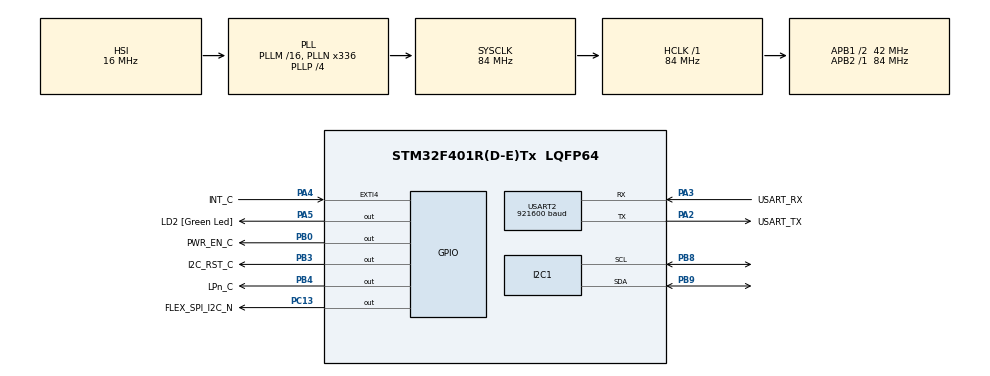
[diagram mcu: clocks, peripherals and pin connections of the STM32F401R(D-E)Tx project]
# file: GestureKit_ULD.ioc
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I2C1.I2C_Mode=I2C_Fast
Mcu.Family=STM32F4
Mcu.Name=STM32F401R(D-E)Tx
Mcu.Package=LQFP64
NVIC.EXTI4_IRQn=true\:0\:0\:false\:false\:true\:true\:true\:true
NVIC.PriorityGroup=NVIC_PRIORITYGROUP_0
NVIC.USART2_IRQn=true\:0\:0\:false\:false\:true\:true\:true\:true
PA13.GPIO_Label=TMS
PA13.Mode=Serial_Wire
PA13.Signal=SYS_JTMS-SWDIO
PA14.GPIO_Label=TCK
PA14.Mode=Serial_Wire
PA14.Signal=SYS_JTCK-SWCLK
PA2.GPIO_Label=USART_TX
PA2.GPIO_Mode=GPIO_MODE_AF_PP
PA2.GPIO_PuPd=GPIO_NOPULL
PA2.GPIO_Speed=GPIO_SPEED_FREQ_LOW
PA2.Mode=Asynchronous
PA2.Signal=USART2_TX
PA3.GPIO_Label=USART_RX
PA3.GPIO_Mode=GPIO_MODE_AF_PP
PA3.GPIO_PuPd=GPIO_NOPULL
PA3.GPIO_Speed=GPIO_SPEED_FREQ_LOW
PA3.Mode=Asynchronous
PA3.Signal=USART2_RX
PA4.GPIO_Label=INT_C
PA4.GPIO_ModeDefaultEXTI=GPIO_MODE_IT_FALLING
PA4.Signal=GPXTI4
PA5.GPIO_Label=LD2 [Green Led]
PA5.GPIO_Mode=GPIO_MODE_OUTPUT_PP
PA5.GPIO_PuPd=GPIO_NOPULL
PA5.GPIO_Speed=GPIO_SPEED_FREQ_LOW
PA5.Signal=GPIO_Output
PB0.GPIO_Label=PWR_EN_C
PB0.GPIO_PuPd=GPIO_PULLUP
PB0.PinState=GPIO_PIN_SET
PB0.Signal=GPIO_Output
PB3.GPIO_Label=I2C_RST_C
PB3.GPIO_ModeDefaultOutputPP=GPIO_MODE_OUTPUT_PP
PB3.GPIO_PuPd=GPIO_PULLDOWN
PB3.PinState=GPIO_PIN_RESET
PB3.Signal=GPIO_Output
PB4.GPIO_Label=LPn_C
PB4.GPIO_PuPd=GPIO_PULLUP
PB4.PinState=GPIO_PIN_SET
PB4.Signal=GPIO_Output
PB8.Mode=I2C
PB8.Signal=I2C1_SCL
PB9.Mode=I2C
PB9.Signal=I2C1_SDA
PC13-ANTI_TAMP.GPIO_Label=FLEX_SPI_I2C_N
PC13-ANTI_TAMP.GPIO_ModeDefaultOutputPP=GPIO_MODE_OUTPUT_PP
PC13-ANTI_TAMP.GPIO_PuPd=GPIO_NOPULL
PC13-ANTI_TAMP.Signal=GPIO_Output
PC14-OSC32_IN.Mode=LSE-External-Oscillator
PC14-OSC32_IN.Signal=RCC_OSC32_IN
PC15-OSC32_OUT.Mode=LSE-External-Oscillator
PC15-OSC32_OUT.Signal=RCC_OSC32_OUT
PH0\ -\ OSC_IN.Mode=HSE-External-Clock-Source
PH0\ -\ OSC_IN.Signal=RCC_OSC_IN
PH1\ -\ OSC_OUT.Mode=HSE-External-Clock-Source
PH1\ -\ OSC_OUT.Signal=RCC_OSC_OUT
ProjectManager.HeapSize=0x200
ProjectManager.StackSize=0x400
ProjectManager.TargetToolchain=STM32CubeIDE
RCC.48MHZClocksFreq_Value=48000000
RCC.AHBFreq_Value=84000000
RCC.APB1CLKDivider=RCC_HCLK_DIV2
RCC.APB1Freq_Value=42000000
RCC.APB1TimFreq_Value=84000000
RCC.APB2Freq_Value=84000000
RCC.APB2TimFreq_Value=84000000
RCC.CortexFreq_Value=84000000
RCC.HCLKFreq_Value=84000000
RCC.HSE_VALUE=8000000
RCC.HSI_VALUE=16000000
RCC.PLLN=336
RCC.PLLP=RCC_PLLP_DIV4
RCC.PLLQ=7
RCC.SYSCLKFreq_VALUE=84000000
RCC.SYSCLKSource=RCC_SYSCLKSOURCE_PLLCLK
RCC.VCOOutputFreq_Value=336000000
USART2.BaudRate=921600
USART2.VirtualMode=VM_ASYNC
board=NUCLEO-F401RE

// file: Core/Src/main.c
/* USER CODE BEGIN Header */
/********************************************************************************
*
* Copyright (c) 2018 STMicroelectronics - All Rights Reserved
*
* License terms: STMicroelectronics Proprietary in accordance with licensing
* terms at www.st.com/sla0081
*
* STMicroelectronics confidential
* Reproduction and Communication of this document is strictly prohibited unless
* specifically authorized in writing by STMicroelectronics.
*
*******************************************************************************/

/* USER CODE END Header */
#include "main.h"

/* USER CODE BEGIN Includes */
#include <stdio.h>
#include <string.h>
#include "apps_layer_utils.h"
/* USER CODE END Includes */

I2C_HandleTypeDef hi2c1;

UART_HandleTypeDef huart2;

void SystemClock_Config(void);
static void MX_GPIO_Init(void);
static void MX_I2C1_Init(void);
static void MX_USART2_UART_Init(void);
/* USER CODE BEGIN PFP */

extern int LMZ_gesture_app_main(int start_ranging, uint8_t *xtalk_calib_buf);
extern int SC_HandleCmd(const char *Buffer);
int handle_cmd(void);

// XTALK CALIBRATION //
// copy the code generated in your UART terminal after the command "calibrate xtalk"
// uint8_t 				Xtalk_cal_buf[VL53LMZ_XTALK_BUFFER_SIZE] = {00,01,02,03,
//																	04,05,...};
uint8_t Xtalk_cal_buf[VL53LMZ_XTALK_BUFFER_SIZE] = {
0x9f, 0xd8, 0x00, 0xc0,
0x03, 0x20, 0x09, 0x60,
0x0b, 0x08, 0x08, 0x17,
0x08, 0x08, 0x08, 0x03,
0x9f, 0xe4, 0x01, 0x40,
0x00, 0x00, 0x00, 0x00,
0x00, 0x00, 0x00, 0x00,
0x00, 0x00, 0x00, 0x00,
0x01, 0xe0, 0x00, 0x20,
0x00, 0x00, 0x00, 0x20,
0x9f, 0xf8, 0x00, 0x40,
0x17, 0x17, 0x17, 0x17,
0x9f, 0xfc, 0x04, 0x04,
0x00, 0x00, 0x46, 0xa4,
0x00, 0x00, 0x37, 0x66,
0x00, 0x00, 0x26, 0x60,
0x00, 0x00, 0x1c, 0xbc,
0x00, 0x00, 0x17, 0x73,
0x00, 0x00, 0x11, 0x25,
0x00, 0x00, 0x11, 0x07,
0x00, 0x00, 0x0e, 0x63,
0x00, 0x00, 0x8b, 0x4c,
0x00, 0x00, 0x60, 0xa2,
0x00, 0x00, 0x3d, 0xc0,
0x00, 0x00, 0x26, 0xaa,
0x00, 0x00, 0x1b, 0xc2,
0x00, 0x00, 0x18, 0x04,
0x00, 0x00, 0x14, 0x97,
0x00, 0x00, 0x10, 0xed,
0x00, 0x01, 0x28, 0x1b,
0x00, 0x00, 0x93, 0xf0,
0x00, 0x00, 0x57, 0x61,
0x00, 0x00, 0x30, 0x2b,
0x00, 0x00, 0x20, 0xaa,
0x00, 0x00, 0x1a, 0xb6,
0x00, 0x00, 0x15, 0xc3,
0x00, 0x00, 0x16, 0x0e,
0x00, 0x01, 0x7f, 0xbb,
0x00, 0x00, 0xad, 0x58,
0x00, 0x00, 0x71, 0xaf,
0x00, 0x00, 0x36, 0xd9,
0x00, 0x00, 0x22, 0xfb,
0x00, 0x00, 0x1c, 0x96,
0x00, 0x00, 0x18, 0x83,
0x00, 0x00, 0x17, 0x96,
0x00, 0x01, 0x90, 0x00,
0x00, 0x00, 0x97, 0xd6,
0x00, 0x00, 0x66, 0x3b,
0x00, 0x00, 0x33, 0x0a,
0x00, 0x00, 0x20, 0xcd,
0x00, 0x00, 0x19, 0x38,
0x00, 0x00, 0x16, 0xa5,
0x00, 0x00, 0x14, 0xbb,
0x00, 0x00, 0xaf, 0xcf,
0x00, 0x00, 0x65, 0x7d,
0x00, 0x00, 0x3d, 0x93,
0x00, 0x00, 0x29, 0xd1,
0x00, 0x00, 0x19, 0x4e,
0x00, 0x00, 0x15, 0xba,
0x00, 0x00, 0x11, 0xc6,
0x00, 0x00, 0x12, 0x7f,
0x00, 0x00, 0x73, 0x1d,
0x00, 0x00, 0x42, 0x2c,
0x00, 0x00, 0x2e, 0x82,
0x00, 0x00, 0x1e, 0x80,
0x00, 0x00, 0x18, 0x1c,
0x00, 0x00, 0x13, 0x2d,
0x00, 0x00, 0x0f, 0xc6,
0x00, 0x00, 0x0f, 0x85,
0x00, 0x00, 0x4f, 0x04,
0x00, 0x00, 0x33, 0xe9,
0x00, 0x00, 0x1f, 0x06,
0x00, 0x00, 0x18, 0x40,
0x00, 0x00, 0x13, 0x2c,
0x00, 0x00, 0x12, 0x97,
0x00, 0x00, 0x0e, 0x01,
0x00, 0x00, 0x0d, 0xac,
0xa0, 0xfc, 0x01, 0x00,
0x00, 0x00, 0x00, 0x00,
0x00, 0x00, 0x00, 0x03,
0x00, 0x00, 0x00, 0x00,
0x00, 0x00, 0x00, 0x00,
0xa1, 0x0c, 0x01, 0x00,
0x00, 0x00, 0x00, 0x80,
0x00, 0x00, 0x00, 0x03,
0x00, 0x00, 0x00, 0x00,
0x00, 0x00, 0x00, 0x00,
0xa1, 0x1c, 0x00, 0xc0,
0x00, 0x00, 0x70, 0xeb,
0x0c, 0x80, 0x01, 0xe0,
0x00, 0x00, 0x00, 0x26,
0xa1, 0x28, 0x09, 0x02,
0x00, 0x00, 0x00, 0x00,
0x00, 0x00, 0x00, 0x00,
0x00, 0x00, 0x00, 0x00,
0x00, 0x01, 0x00, 0x00,
0x00, 0x36, 0x00, 0x03,
0x01, 0xd9, 0x01, 0x43,
0x02, 0x33, 0x02, 0x17,
0x02, 0x4b, 0x02, 0x41,
0x01, 0x17, 0x02, 0x22,
0x00, 0x27, 0x00, 0x5d,
0x00, 0x05, 0x00, 0x11,
0x00, 0x00, 0x00, 0x01,
0x00, 0x00, 0x00, 0x00,
0x00, 0x00, 0x00, 0x00,
0x00, 0x00, 0x00, 0x00,
0x00, 0x00, 0x00, 0x00,
0x00, 0x00, 0x00, 0x00,
0x00, 0x00, 0x00, 0x00,
0x00, 0x00, 0x00, 0x00,
0x00, 0x00, 0x00, 0x00,
0x00, 0x00, 0x00, 0x00,
0x00, 0x00, 0x00, 0x00,
0x00, 0x00, 0x00, 0x00,
0x00, 0x00, 0x00, 0x00,
0x00, 0x00, 0x00, 0x00,
0x00, 0x00, 0x00, 0x00,
0x00, 0x00, 0x00, 0x00,
0x00, 0x00, 0x00, 0x00,
0x00, 0x00, 0x00, 0x00,
0x00, 0x00, 0x00, 0x00,
0x00, 0x00, 0x00, 0x00,
0x00, 0x00, 0x00, 0x00,
0x00, 0x00, 0x00, 0x00,
0x00, 0x00, 0x00, 0x00,
0x00, 0x00, 0x00, 0x00,
0x00, 0x00, 0x00, 0x00,
0x00, 0x00, 0x00, 0x00,
0x00, 0x00, 0x00, 0x00,
0x00, 0x00, 0x00, 0x00,
0x00, 0x00, 0x00, 0x00,
0x00, 0x00, 0x00, 0x00,
0x00, 0x00, 0x00, 0x00,
0x00, 0x00, 0x00, 0x00,
0x00, 0x00, 0x00, 0x00,
0x00, 0x00, 0x00, 0x00,
0x00, 0x00, 0x00, 0x00,
0x00, 0x00, 0x00, 0x00,
0x00, 0x00, 0x00, 0x00,
0x00, 0x00, 0x00, 0x00,
0x00, 0x00, 0x00, 0x00,
0x00, 0x00, 0x00, 0x00,
0x00, 0x00, 0x00, 0x00,
0x00, 0x00, 0x00, 0x00,
0x00, 0x00, 0x00, 0x00,
0x00, 0x00, 0x00, 0x00,
0x00, 0x00, 0x00, 0x00,
0x00, 0x00, 0x00, 0x00,
0x00, 0x00, 0x00, 0x00,
0x00, 0x00, 0x00, 0x00,
0x00, 0x00, 0x00, 0x00,
0x00, 0x00, 0x00, 0x00,
0x00, 0x00, 0x00, 0x00,
0x00, 0x00, 0x00, 0x00,
0x00, 0x00, 0x00, 0x00,
0x00, 0x00, 0x00, 0x00,
0x00, 0x00, 0x00, 0x00,
0x00, 0x00, 0x00, 0x00,
0x00, 0x00, 0x00, 0x00,
0x00, 0x00, 0x00, 0x00,
0x00, 0x00, 0x00, 0x00,
0x00, 0x00, 0x00, 0x00,
0x00, 0x00, 0x00, 0x00,
0xa2, 0x48, 0x00, 0x40,
0x00, 0x00, 0x00, 0x00,
0xa2, 0x4c, 0x00, 0x81,
0x00, 0x00, 0x00, 0x00,
0x00, 0x00, 0x00, 0x00,
0xa2, 0x54, 0x00, 0x81,
0x00, 0x00, 0x00, 0x00,
0x00, 0x00, 0x00, 0x00,
0xa2, 0x5c, 0x00, 0x81,
0x00, 0x00, 0x00, 0x00,
0x00, 0x00, 0x00, 0x00,
0xa2, 0x64, 0x00, 0x81,
0x00, 0x00, 0x00, 0x00,
0x00, 0x00, 0x00, 0x00,
0xa2, 0x6c, 0x00, 0x84,
0x00, 0x00, 0x00, 0x00,
0x00, 0x00, 0x00, 0x00,
0x00, 0x00, 0x00, 0x00,
0x00, 0x00, 0x00, 0x00,
0x00, 0x00, 0x00, 0x00,
0x00, 0x00, 0x00, 0x00,
0x00, 0x00, 0x00, 0x00,
0x00, 0x00, 0x00, 0x00,
0xa2, 0x8c, 0x00, 0x82,
0x00, 0x00, 0x00, 0x00,
0x00, 0x00, 0x00, 0x00,
0x00, 0x00, 0x00, 0x00,
0x00, 0x00, 0x00, 0x00,
0x00, 0x00, 0x00, 0x0f,
0x00, 0x01, 0x03, 0x04,
};

/* USER CODE END PFP */

/* USER CODE BEGIN 0 */
extern volatile int IntrCount;
void HAL_GPIO_EXTI_Callback(uint16_t GPIO_Pin)
{
	if (GPIO_Pin==INT_C_Pin)
	{
		IntrCount++;
	}
}

//https://electronics.stackexchange.com/questions/206113/how-do-i-use-the-printf-function-on-stm32
__attribute__((weak)) int __io_putchar(int ch)
{
    HAL_StatusTypeDef status = HAL_UART_Transmit(&huart2, (uint8_t *)&ch, 1, 0xFFFF);
    return (status == HAL_OK ? ch : 0);
}

__attribute__((weak)) int __io_getchar(void)
{
	int ch = 0;
    HAL_StatusTypeDef status = HAL_UART_Receive(&huart2, (uint8_t *)&ch, 1, 0xFFFF);
    return (status == HAL_OK ? ch : 0);
}

// Code to enable sending data through the UART: Host->STM32
#define UART_BUFFER_SIZE    2048
volatile char Uart_RXBuffer[UART_BUFFER_SIZE];
char UartComm_RXBuffer[UART_BUFFER_SIZE];
int UartComm_RXSize = 0;
volatile size_t Uart_RxRcvIndex = 0;
volatile uint32_t Uart_nOverrun = 0;
volatile int UartComm_CmdReady = 0;
void HAL_UART_RxCpltCallback(UART_HandleTypeDef *huart)
{
	if (Uart_RXBuffer[Uart_RxRcvIndex] == '\r'
				|| Uart_RXBuffer[Uart_RxRcvIndex] == '\n'
				|| Uart_RXBuffer[Uart_RxRcvIndex] == '\x03') //Ctrl-C)
	{

		if (Uart_RXBuffer[Uart_RxRcvIndex] != '\x03') // \x0x3 is Ctrl-c
    		Uart_RXBuffer[Uart_RxRcvIndex] = 0;

		memcpy(UartComm_RXBuffer ,
				(char*)Uart_RXBuffer,
				Uart_RxRcvIndex+1 ); //copy ending 0
        UartComm_RXSize = Uart_RxRcvIndex;
		UartComm_CmdReady = 1;

		Uart_RxRcvIndex = 0;
	}
	else
	{
		if (Uart_RxRcvIndex < UART_BUFFER_SIZE)
		{
			Uart_RxRcvIndex++;
		}
		else
		{
			Uart_RxRcvIndex = 0;
			Uart_nOverrun++;
		}
	}

	HAL_UART_Receive_IT(huart,
					(uint8_t *) &Uart_RXBuffer[Uart_RxRcvIndex],
					1);
}

void UartComm_Start() {
	HAL_UART_StateTypeDef State;
	UartComm_CmdReady = 0;
    Uart_RxRcvIndex = 0;

    State = HAL_UART_GetState(&huart2);
	if (State != HAL_UART_STATE_BUSY_TX_RX && State != HAL_UART_STATE_BUSY_RX) {
        // arm it
        HAL_UART_Receive_IT(&huart2, (uint8_t *) Uart_RXBuffer, 1);
    }

}

void HAL_UART_ErrorCallback(UART_HandleTypeDef * huart) {
    // clear error and  kick of next
    huart->ErrorCode = 0;
    HAL_UART_Receive_IT(huart, (uint8_t *) &Uart_RXBuffer[Uart_RxRcvIndex], Uart_RxRcvIndex);

}

/* USER CODE END 0 */

int main(void)
{

  /* MCU Configuration--------------------------------------------------------*/

  /* Reset of all peripherals, Initializes the Flash interface and the Systick. */
  HAL_Init();

  /* Configure the system clock */
  SystemClock_Config();

  /* Initialize all configured peripherals */
  MX_GPIO_Init();
  MX_I2C1_Init();
  MX_USART2_UART_Init();
  /* USER CODE BEGIN 2 */
  UartComm_Start();
  /* USER CODE END 2 */

  /* Infinite loop */
  /* USER CODE BEGIN WHILE */
  while (1)
  {
	  LMZ_gesture_app_main(1, NULL);
	  // XTALK CALIBRATION //
	  // To load the Xtalk Calibration buffer in the sensor, use the command below, using Xtalk_cal_buf
	  // LMZ_gesture_app_main(1, Xtalk_cal_buf);
    /* USER CODE END WHILE */

  }
}

void SystemClock_Config(void)
{
  RCC_OscInitTypeDef RCC_OscInitStruct = {0};
  RCC_ClkInitTypeDef RCC_ClkInitStruct = {0};

  /** Configure the main internal regulator output voltage
  */
  __HAL_RCC_PWR_CLK_ENABLE();
  __HAL_PWR_VOLTAGESCALING_CONFIG(PWR_REGULATOR_VOLTAGE_SCALE2);

  /** Initializes the RCC Oscillators according to the specified parameters
  * in the RCC_OscInitTypeDef structure.
  */
  RCC_OscInitStruct.OscillatorType = RCC_OSCILLATORTYPE_HSI;
  RCC_OscInitStruct.HSIState = RCC_HSI_ON;
  RCC_OscInitStruct.HSICalibrationValue = RCC_HSICALIBRATION_DEFAULT;
  RCC_OscInitStruct.PLL.PLLState = RCC_PLL_ON;
  RCC_OscInitStruct.PLL.PLLSource = RCC_PLLSOURCE_HSI;
  RCC_OscInitStruct.PLL.PLLM = 16;
  RCC_OscInitStruct.PLL.PLLN = 336;
  RCC_OscInitStruct.PLL.PLLP = RCC_PLLP_DIV4;
  RCC_OscInitStruct.PLL.PLLQ = 7;
  if (HAL_RCC_OscConfig(&RCC_OscInitStruct) != HAL_OK)
  {
    Error_Handler();
  }

  /** Initializes the CPU, AHB and APB buses clocks
  */
  RCC_ClkInitStruct.ClockType = RCC_CLOCKTYPE_HCLK|RCC_CLOCKTYPE_SYSCLK
                              |RCC_CLOCKTYPE_PCLK1|RCC_CLOCKTYPE_PCLK2;
  RCC_ClkInitStruct.SYSCLKSource = RCC_SYSCLKSOURCE_PLLCLK;
  RCC_ClkInitStruct.AHBCLKDivider = RCC_SYSCLK_DIV1;
  RCC_ClkInitStruct.APB1CLKDivider = RCC_HCLK_DIV2;
  RCC_ClkInitStruct.APB2CLKDivider = RCC_HCLK_DIV1;

  if (HAL_RCC_ClockConfig(&RCC_ClkInitStruct, FLASH_LATENCY_2) != HAL_OK)
  {
    Error_Handler();
  }
}

static void MX_I2C1_Init(void)
{

  hi2c1.Instance = I2C1;
  hi2c1.Init.ClockSpeed = 400000;
  hi2c1.Init.DutyCycle = I2C_DUTYCYCLE_2;
  hi2c1.Init.OwnAddress1 = 0;
  hi2c1.Init.AddressingMode = I2C_ADDRESSINGMODE_7BIT;
  hi2c1.Init.DualAddressMode = I2C_DUALADDRESS_DISABLE;
  hi2c1.Init.OwnAddress2 = 0;
  hi2c1.Init.GeneralCallMode = I2C_GENERALCALL_DISABLE;
  hi2c1.Init.NoStretchMode = I2C_NOSTRETCH_DISABLE;
  if (HAL_I2C_Init(&hi2c1) != HAL_OK)
  {
    Error_Handler();
  }

}

static void MX_USART2_UART_Init(void)
{

  huart2.Instance = USART2;
  huart2.Init.BaudRate = 921600;
  huart2.Init.WordLength = UART_WORDLENGTH_8B;
  huart2.Init.StopBits = UART_STOPBITS_1;
  huart2.Init.Parity = UART_PARITY_NONE;
  huart2.Init.Mode = UART_MODE_TX_RX;
  huart2.Init.HwFlowCtl = UART_HWCONTROL_NONE;
  huart2.Init.OverSampling = UART_OVERSAMPLING_16;
  if (HAL_UART_Init(&huart2) != HAL_OK)
  {
    Error_Handler();
  }

}

static void MX_GPIO_Init(void)
{
  GPIO_InitTypeDef GPIO_InitStruct = {0};

  /* GPIO Ports Clock Enable */
  __HAL_RCC_GPIOC_CLK_ENABLE();
  __HAL_RCC_GPIOH_CLK_ENABLE();
  __HAL_RCC_GPIOA_CLK_ENABLE();
  __HAL_RCC_GPIOB_CLK_ENABLE();

  /*Configure GPIO pin Output Level */
  HAL_GPIO_WritePin(FLEX_SPI_I2C_N_GPIO_Port, FLEX_SPI_I2C_N_Pin, GPIO_PIN_RESET);

  /*Configure GPIO pin Output Level */
  HAL_GPIO_WritePin(LD2_GPIO_Port, LD2_Pin, GPIO_PIN_RESET);

  /*Configure GPIO pin Output Level */
  HAL_GPIO_WritePin(GPIOB, PWR_EN_C_Pin|LPn_C_Pin, GPIO_PIN_SET);

  /*Configure GPIO pin Output Level */
  HAL_GPIO_WritePin(I2C_RST_C_GPIO_Port, I2C_RST_C_Pin, GPIO_PIN_RESET);

  /*Configure GPIO pin : FLEX_SPI_I2C_N_Pin */
  GPIO_InitStruct.Pin = FLEX_SPI_I2C_N_Pin;
  GPIO_InitStruct.Mode = GPIO_MODE_OUTPUT_PP;
  GPIO_InitStruct.Pull = GPIO_NOPULL;
  GPIO_InitStruct.Speed = GPIO_SPEED_FREQ_LOW;
  HAL_GPIO_Init(FLEX_SPI_I2C_N_GPIO_Port, &GPIO_InitStruct);

  /*Configure GPIO pin : INT_C_Pin */
  GPIO_InitStruct.Pin = INT_C_Pin;
  GPIO_InitStruct.Mode = GPIO_MODE_IT_FALLING;
  GPIO_InitStruct.Pull = GPIO_NOPULL;
  HAL_GPIO_Init(INT_C_GPIO_Port, &GPIO_InitStruct);

  /*Configure GPIO pin : LD2_Pin */
  GPIO_InitStruct.Pin = LD2_Pin;
  GPIO_InitStruct.Mode = GPIO_MODE_OUTPUT_PP;
  GPIO_InitStruct.Pull = GPIO_NOPULL;
  GPIO_InitStruct.Speed = GPIO_SPEED_FREQ_LOW;
  HAL_GPIO_Init(LD2_GPIO_Port, &GPIO_InitStruct);

  /*Configure GPIO pins : PWR_EN_C_Pin LPn_C_Pin */
  GPIO_InitStruct.Pin = PWR_EN_C_Pin|LPn_C_Pin;
  GPIO_InitStruct.Mode = GPIO_MODE_OUTPUT_PP;
  GPIO_InitStruct.Pull = GPIO_PULLUP;
  GPIO_InitStruct.Speed = GPIO_SPEED_FREQ_LOW;
  HAL_GPIO_Init(GPIOB, &GPIO_InitStruct);

  /*Configure GPIO pin : I2C_RST_C_Pin */
  GPIO_InitStruct.Pin = I2C_RST_C_Pin;
  GPIO_InitStruct.Mode = GPIO_MODE_OUTPUT_PP;
  GPIO_InitStruct.Pull = GPIO_PULLDOWN;
  GPIO_InitStruct.Speed = GPIO_SPEED_FREQ_LOW;
  HAL_GPIO_Init(I2C_RST_C_GPIO_Port, &GPIO_InitStruct);

  /* EXTI interrupt init*/
  HAL_NVIC_SetPriority(EXTI4_IRQn, 0, 0);
  HAL_NVIC_EnableIRQ(EXTI4_IRQn);

}

void Error_Handler(void)
{
  __disable_irq();
  while (1)
  {
  }
}
